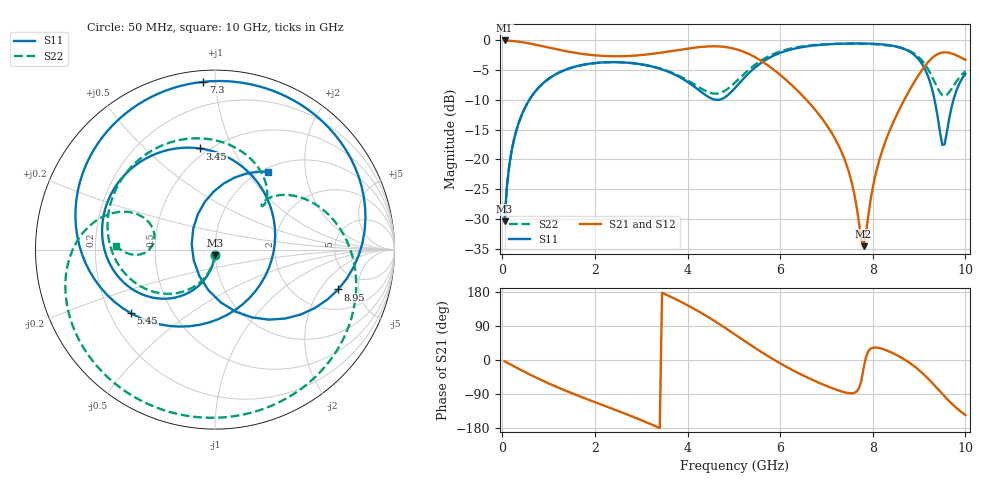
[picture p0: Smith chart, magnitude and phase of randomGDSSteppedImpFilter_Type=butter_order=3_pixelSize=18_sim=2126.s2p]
! freq	dB(S11)	phase(S11)	dB(S12)	phase(S12)
!  dB(S21)	phase(S21)	dB(S22)	phase(S22)
!S-par simulation data
#  GHz  S  DB  R 50
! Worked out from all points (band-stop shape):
!   200 points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, 50 MHz to 10 GHz, reference 50 ohm
!   highest |S21| = -0.01 dB at 50 MHz (marker M1); lowest = -34.6 dB at 7.8 GHz (marker M2)
!   |S21| within 3 dB of the highest: start of sweep to 5.501 GHz; 9.275 GHz to 9.936 GHz (661.4 MHz wide, 6.89 % of centre)
!   lowest |S11| = -30.4 dB at 50 MHz (marker M3), VSWR 1.06, Z = 49.8 - j3 ohm
!   |S11| at or under -10 dB: start of sweep to 584.2 MHz; 4.649463 GHz to 4.650292 GHz (829.1 kHz wide, 0.0178 % of centre); 9.334 GHz to 9.742 GHz (408.5 MHz wide, 4.28 % of centre)
!   |S22| runs from -30.5 to -0.5 dB; largest |S21 - S12| = 0
!   S11 on the Smith chart (normalised r, x): 50 MHz: 1.00, -0.06; 3.45 GHz: 0.45, +0.75; 5.45 GHz: 0.29, -0.31; 7.3 GHz: 0.06, +0.93; 8.95 GHz: 3.25, -3.01; 10 GHz: 1.05, +1.26
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0.05  -30.43 -91.9  -0.01 -3.4  -0.01 -3.4  -30.50 -93.3
0.2  -18.62 -102.5  -0.09 -13.3  -0.09 -13.3  -18.63 -103.9
0.5  -11.16 -120.9  -0.40 -32.5  -0.40 -32.5  -11.17 -124.8
1.05  -6.19 -150.8  -1.29 -64.4  -1.29 -64.4  -6.20 -159.0
1.75  -4.10 177.0  -2.30 -99.5  -2.30 -99.5  -4.10 163.0
2.65  -3.72 138.5  -2.64 -141.6  -2.64 -141.6  -3.72 117.7
3.4  -4.76 101.4  -2.10 -179.7  -2.10 -179.7  -4.71 79.6
3.45  -4.88 98.5  -2.04 177.6  -2.04 177.6  -4.82 77.1
4.4  -9.25 13.6  -1.04 116.7  -1.04 116.7  -8.54 42.5
5.05  -7.79 -94.9  -1.49 65.3  -1.49 65.3  -6.90 41.5
5.45  -4.62 -142.8  -2.79 32.5  -2.79 32.5  -4.13 23.2
6.05  -1.96 167.1  -6.12 -12.3  -6.12 -12.3  -1.74 -16.2
6.7  -0.89 126.4  -11.15 -52.6  -11.15 -52.6  -0.80 -57.6
7.3  -0.56 94.0  -18.31 -82.0  -18.31 -82.0  -0.56 -91.9
7.8  -0.53 67.2  -34.59 -23.2  -34.59 -23.2  -0.57 -118.8
8.05  -0.59 52.9  -22.89 33.0  -22.89 33.0  -0.66 -132.2
8.35  -0.81 34.0  -15.44 22.8  -15.44 22.8  -0.87 -148.9
8.95  -2.84 -17.9  -6.32 -21.7  -6.32 -21.7  -2.54 173.3
9.25  -7.35 -61.6  -3.19 -56.1  -3.19 -56.1  -5.63 156.3
9.5  -17.56 -153.7  -2.05 -89.4  -2.05 -89.4  -9.18 166.0
9.75  -9.77 91.1  -2.33 -120.2  -2.33 -120.2  -7.56 -176.3
10  -5.61 56.0  -3.28 -145.5  -3.28 -145.5  -5.15 177.7
